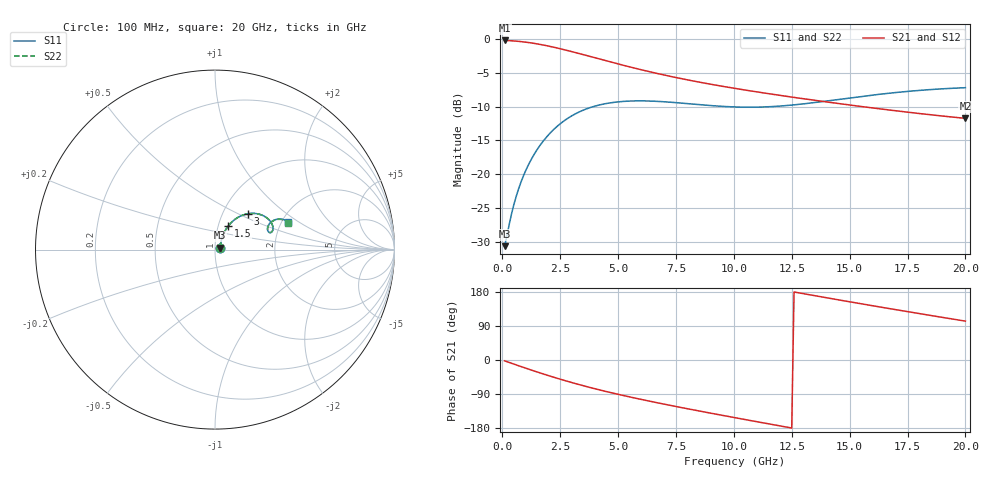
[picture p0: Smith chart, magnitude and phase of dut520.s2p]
! Touchstone file exported from HFSS 2024.1.0
!  File:  C:/UserFiles/LocalFiles/RDL_TSV_Batchsim/temp_RDL_TSV_520_1779742565.aedt
!  Generated:  05:09:19 AM May 26, 2026
!  Design:  RDL_TSV
!  Project:  temp_RDL_TSV_520_1779742565
!  Setup:  Setup1
!  Solution:  Sweep
! Variables:
!  dtsv = 7.46um
!  hbump = 3um
!  htsv = 83.94um
!  ldown = 347.75um
!  lrdl = 670.87um
!  p = 40
!  p1 = 52.82um
!  rhole = 10um
!  subl = 3726.73um
!  t = 450um
!  tdown = 2.77um
!  trdl = 3.94um
!  viad = 10um
!  wdown = 10.71um
!  wrdl = 16.03um
!  xbump = 18um
# GHz S MA R 50.000000
! Terminal data exported
! Port[1] = TM1_1_T1
! Port[2] = TM1_4_T1
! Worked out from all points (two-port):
!   200 points, 100 MHz to 20 GHz, reference 50 ohm
!   highest |S21| = -0.25 dB at 100 MHz (marker M1); lowest = -11.7 dB at 20 GHz (marker M2)
!   |S21| within 3 dB of the highest: start of sweep to 4.486 GHz
!   lowest |S11| = -30.6 dB at 100 MHz (marker M3), VSWR 1.06, Z = 52.8 + j1.09 ohm
!   |S11| at or under -10 dB: start of sweep to 3.944 GHz; 9.614 GHz to 11.71 GHz (2.095 GHz wide, 19.6 % of centre)
!   |S22| runs from -30.6 to -7.3 dB; largest |S21 - S12| = 1e-14
!   S11 on the Smith chart (normalised r, x): 100 MHz: 1.06, +0.02; 1.5 GHz: 1.12, +0.30; 3 GHz: 1.31, +0.56; 20 GHz: 2.17, +0.82
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0.1  0.02946 20.5  0.9717 -2.2  0.9717 -2.2  0.02942 20.5
! Gamma 0 0 0 0
! Port Impedance 50 0 50 0
0.4  0.051 50.8  0.9662 -8.7  0.9662 -8.7  0.05091 50.8
0.7  0.07766 59.2  0.9569 -15.1  0.9569 -15.1  0.0775 59.2
1.1  0.1147 61.8  0.9396 -23.4  0.9396 -23.4  0.1144 61.8
1.5  0.1517 60.7  0.917 -31.5  0.917 -31.5  0.1513 60.7
2.2  0.2124 55.5  0.8679 -45.1  0.8679 -45.1  0.212 55.5
2.6  0.2431 51.6  0.8365 -52.5  0.8365 -52.5  0.2427 51.7
3  0.2699 47.7  0.8041 -59.5  0.8041 -59.5  0.2694 47.7
3.5  0.2974 42.7  0.7636 -67.9  0.7636 -67.9  0.297 42.7
4.3  0.3278 35.4  0.7015 -80.4  0.7015 -80.4  0.3273 35.4
5.1  0.3435 29.1  0.6454 -92.0  0.6454 -92.0  0.3431 29.2
5.9  0.348 24.2  0.5963 -102.8  0.5963 -102.8  0.3478 24.2
6.8  0.3443 20.2  0.549 -114.2  0.549 -114.2  0.3442 20.2
7.6  0.3367 18.0  0.5132 -123.9  0.5132 -123.9  0.3366 18.0
8.4  0.3276 17.1  0.4823 -133.4  0.4823 -133.4  0.3277 17.1
10.1  0.3136 18.5  0.4287 -152.8  0.4287 -152.8  0.3137 18.5
11.7  0.3162 22.2  0.3887 -170.7  0.3887 -170.7  0.3162 22.1
13.4  0.3368 25.5  0.3531 170.7  0.3531 170.7  0.3365 25.3
15.1  0.3674 26.5  0.3228 152.5  0.3228 152.5  0.3667 26.3
16.7  0.3963 25.5  0.2982 135.8  0.2982 135.8  0.3952 25.3
18.3  0.4195 23.3  0.2772 119.5  0.2772 119.5  0.4181 23.1
20  0.4354 20.5  0.2585 102.6  0.2585 102.6  0.4337 20.4
